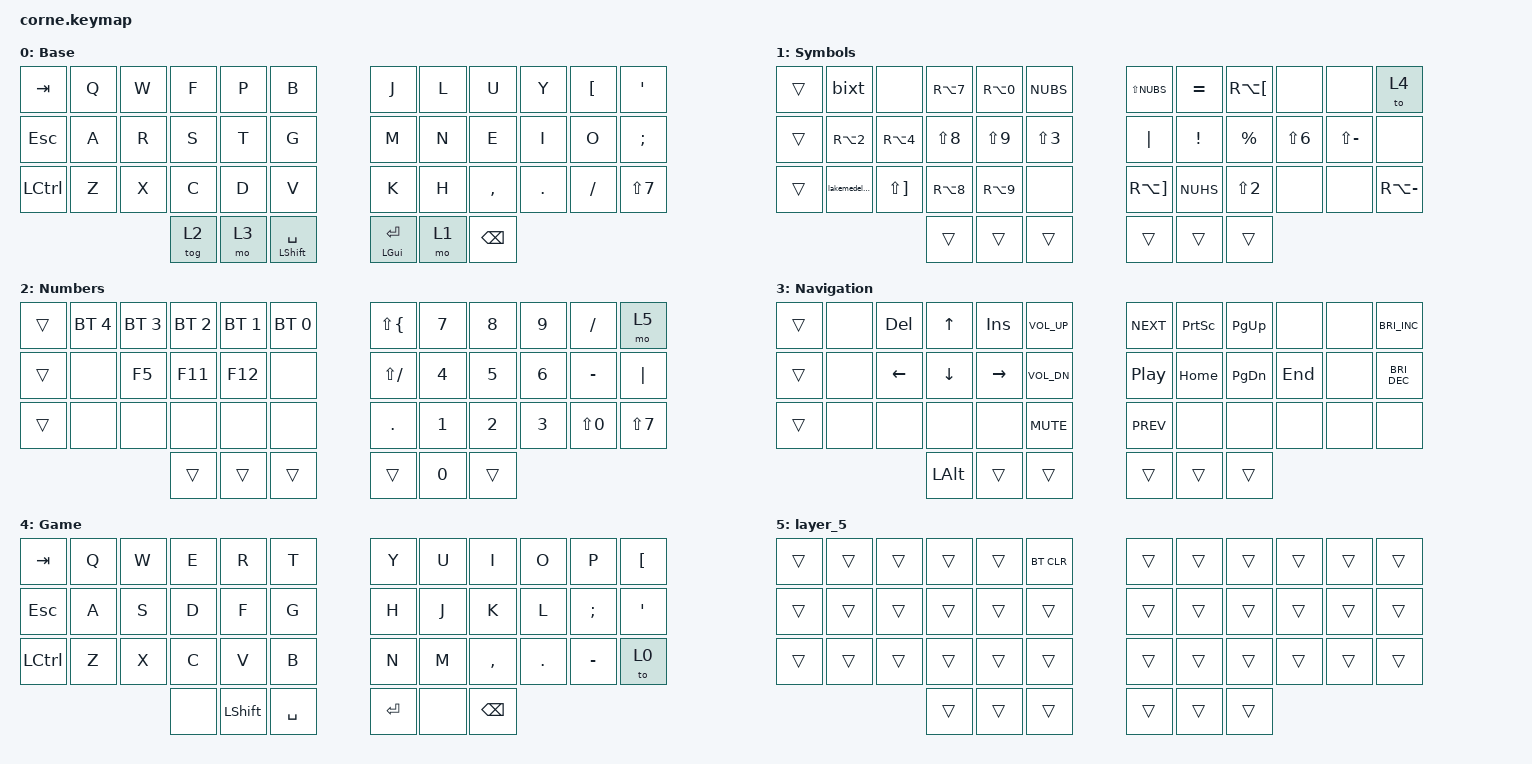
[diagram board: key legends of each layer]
/*
 * Copyright (c) 2020 The ZMK Contributors
 *
 * SPDX-License-Identifier: MIT
 */

#include <behaviors.dtsi>
#include <dt-bindings/zmk/bt.h>
#include <dt-bindings/zmk/keys.h>

&mt { tapping-term-ms = <2000>; };

/ {
    macros {
        bixt: bixt {
            compatible = "zmk,behavior-macro";
            #binding-cells = <0>;
            bindings = <&kp B &kp I &kp X &kp T &kp DOT &kp S &kp E>;
            label = "BIXT";
        };

        lakemedelsverket: malarenergi {
            compatible = "zmk,behavior-macro";
            #binding-cells = <0>;
            bindings = <&kp L &kp A &kp K &kp E &kp M &kp E &kp D &kp E &kp L &kp S &kp V &kp E &kp R &kp K &kp E &kp T &kp DOT &kp S &kp E>;
            label = "MALARENERGI";
        };
    };

    keymap {
        compatible = "zmk,keymap";

        Base {
            // -----------------------------------------------------------------------------------------
            // |  TAB |  Q  |  W  |  E  |  R  |  T  |   |  Y  |  U   |  I  |  O  |  P  | BKSP |
            // | CTRL |  A  |  S  |  D  |  F  |  G  |   |  H  |  J   |  K  |  L  |  ;  |  '   |
            // | SHFT |  Z  |  X  |  C  |  V  |  B  |   |  N  |  M   |  ,  |  .  |  /  | ESC  |
            //                    | GUI | LWR | SPC |   | ENT | RSE  | ALT |

            bindings = <
&kp TAB           &kp Q  &kp W  &kp F   &kp P  &kp B               &kp J           &kp L  &kp U          &kp Y    &kp LEFT_BRACKET  &kp SQT
&kp ESC           &kp A  &kp R  &kp S   &kp T  &kp G               &kp M           &kp N  &kp E          &kp I    &kp O             &kp SEMICOLON
&kp LEFT_CONTROL  &kp Z  &kp X  &kp C   &kp D  &kp V               &kp K           &kp H  &kp COMMA      &kp DOT  &kp SLASH         &kp LS(N7)
                                &tog 2  &mo 3  &mt LSHIFT SPACE    &mt LGUI ENTER  &mo 1  &kp BACKSPACE
            >;
        };

        Symbols {
            bindings = <
&trans  &bixt              &none                  &kp RA(N7)  &kp RA(N0)  &kp NUBS            &kp LS(NUBS)  &kp EQUAL  &kp RA(LEFT_BRACKET)  &none       &none          &to 4
&trans  &kp RA(NUMBER_2)   &kp RA(NUMBER_4)       &kp LS(N8)  &kp LS(N9)  &kp LS(NUMBER_3)    &kp PIPE      &kp EXCL   &kp PRCNT             &kp LS(N6)  &kp LS(MINUS)  &none
&trans  &lakemedelsverket  &kp LS(RIGHT_BRACKET)  &kp RA(N8)  &kp RA(N9)  &none               &kp RA(RBKT)  &kp NUHS   &kp LS(NUMBER_2)      &none       &none          &kp RA(MINUS)
                                                  &trans      &trans      &trans              &trans        &trans     &trans
            >;
        };

        Numbers {
            // -----------------------------------------------------------------------------------------
            // |  TAB |  !  |  @  |  #  |  $  |  %  |   |  ^  |  &  |  *  |  (  |  )  | BKSP |
            // | CTRL |     |     |     |     |     |   |  -  |  =  |  [  |  ]  |  \  |  `   |
            // | SHFT |     |     |     |     |     |   |  _  |  +  |  {  |  }  | "|" |  ~   |
            //                    | GUI |     | SPC |   | ENT |     | ALT |

            bindings = <
&trans  &bt BT_SEL 4  &bt BT_SEL 3  &bt BT_SEL 2  &bt BT_SEL 1  &bt BT_SEL 0    &kp LS(LEFT_BRACE)  &kp N7  &kp N8  &kp N9  &kp SLASH   &mo 5
&trans  &none         &kp F5        &kp F11       &kp F12       &none           &kp LS(SLASH)       &kp N4  &kp N5  &kp N6  &kp MINUS   &kp PIPE
&trans  &none         &none         &none         &none         &none           &kp PERIOD          &kp N1  &kp N2  &kp N3  &kp LS(N0)  &kp LS(N7)
                                    &trans        &trans        &trans          &trans              &kp N0  &trans
            >;
        };

        Navigation {
            // -----------------------------------------------------------------------------------------
            // |  TAB |  1  |  2  |  3  |  4  |  5  |   |  6  |  7  |  8  |  9  |  0  | BKSP |
            // | BTCLR| BT1 | BT2 | BT3 | BT4 | BT5 |   | LFT | DWN |  UP | RGT |     |      |
            // | SHFT |     |     |     |     |     |   |     |     |     |     |     |      |
            //                    | GUI |     | SPC |   | ENT |     | ALT |

            bindings = <
&trans  &none  &kp DELETE  &kp UP        &kp INS    &kp C_VOLUME_UP    &kp C_NEXT        &kp PRINTSCREEN  &kp PAGE_UP    &none    &none  &kp C_BRIGHTNESS_INC
&trans  &none  &kp LEFT    &kp DOWN      &kp RIGHT  &kp C_VOL_DN       &kp C_PLAY_PAUSE  &kp HOME         &kp PAGE_DOWN  &kp END  &none  &kp C_BRI_DEC
&trans  &none  &none       &none         &none      &kp K_MUTE         &kp C_PREV        &none            &none          &none    &none  &none
                           &kp LEFT_ALT  &trans     &trans             &trans            &trans           &trans
            >;
        };

        Game {
            bindings = <
&kp TAB    &kp Q  &kp W  &kp E  &kp R           &kp T        &kp Y      &kp U  &kp I          &kp O    &kp P          &kp LEFT_BRACKET
&kp ESC    &kp A  &kp S  &kp D  &kp F           &kp G        &kp H      &kp J  &kp K          &kp L    &kp SEMICOLON  &kp SQT
&kp LCTRL  &kp Z  &kp X  &kp C  &kp V           &kp B        &kp N      &kp M  &kp COMMA      &kp DOT  &kp MINUS      &to 0
                         &none  &kp LEFT_SHIFT  &kp SPACE    &kp ENTER  &none  &kp BACKSPACE
            >;
        };

        layer_5 {
            bindings = <
&trans  &trans  &trans  &trans  &trans  &bt BT_CLR    &trans  &trans  &trans  &trans  &trans  &trans
&trans  &trans  &trans  &trans  &trans  &trans        &trans  &trans  &trans  &trans  &trans  &trans
&trans  &trans  &trans  &trans  &trans  &trans        &trans  &trans  &trans  &trans  &trans  &trans
                        &trans  &trans  &trans        &trans  &trans  &trans
            >;
        };
    };
};
